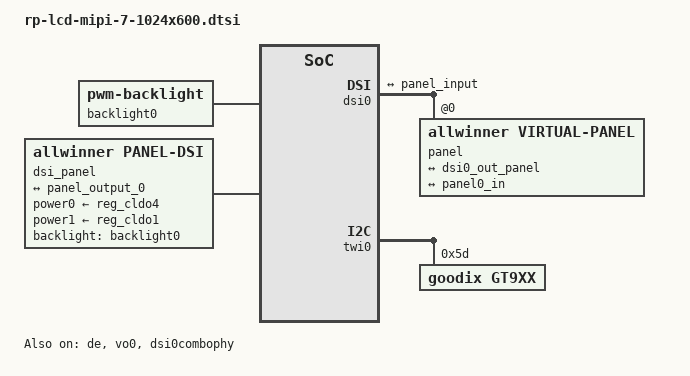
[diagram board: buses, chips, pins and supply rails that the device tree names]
/{
    backlight0: backlight@0 {
        compatible = "pwm-backlight";
        status = "okay";
        brightness-levels = <
              0   1   2   3   4   5   6   7
              8   9  10  11  12  13  14  15
             16  17  18  19  20  21  22  23
             24  25  26  27  28  29  30  31
             32  33  34  35  36  37  38  39
             40  41  42  43  44  45  46  47
             48  49  50  51  52  53  54  55
             56  57  58  59  60  61  62  63
             64  65  66  67  68  69  70  71
             72  73  74  75  76  77  78  79
             80  81  82  83  84  85  86  87
             88  89  90  91  92  93  94  95
             96  97  98  99 100 101 102 103
            104 105 106 107 108 109 110 111
            112 113 114 115 116 117 118 119
            120 121 122 123 124 125 126 127
            128 129 130 131 132 133 134 135
            136 137 138 139 140 141 142 143
            144 145 146 147 148 149 150 151
            152 153 154 155 156 157 158 159
            160 161 162 163 164 165 166 167
            168 169 170 171 172 173 174 175
            176 177 178 179 180 181 182 183
            184 185 186 187 188 189 190 191
            192 193 194 195 196 197 198 199
            200 201 202 203 204 205 206 207
            208 209 210 211 212 213 214 215
            216 217 218 219 220 221 222 223
            224 225 226 227 228 229 230 231
            232 233 234 235 236 237 238 239
            240 241 242 243 244 245 246 247
            248 249 250 251 252 253 254 255>;
        default-brightness-level = <200>;
        // pwms = <&pwm2 0 50000 0>; // config in lcd-gpio-xxx.dtsi
    };

    dsi_panel: dsi_panel@0 {
        compatible = "allwinner,panel-dsi";
        status = "okay";
        reg = <0>;
        power0-supply = <&reg_cldo4>;
        power1-supply = <&reg_cldo1>;

        // reset-gpios = <&pio PJ 17 GPIO_ACTIVE_HIGH>;   // config in lcd-gpio-xxx.dtsi
        // enable0-gpios = <&pio PJ 16 GPIO_ACTIVE_HIGH>; // config in lcd-gpio-xxx.dtsi
        power-delay-ms = <20>;
        enable-delay-ms = <20>;
        reset-num = <1>;
        reset-delay-ms = <20>;

        backlight = <&backlight0>;
        dsi,flags = <MIPI_DSI_MODE_VIDEO>;
        dsi,lanes = <4>;
        dsi,format = <0>; //MIPI_DSI_FMT_RGB888
        panel-init-sequence = [
            05 32 01 11
            05 05 01 29
        ];

        panel-exit-sequence = [
            05 14 01 28
            05 50 01 10
        ];

        display-timings {
            native-mode = <&dsi0_timing0>;

            dsi0_timing0: timing0 {
                clock-frequency = <52000000>;
                hback-porch     = <160>;
                hactive         = <1024>;
                hfront-porch    = <136>;
                hsync-len       = <4>;
                vback-porch     = <96>;
                vactive         = <600>;
                vfront-porch    = <16>;
                vsync-len       = <2>;
            };
        };
        port {
            panel0_in: endpoint@0 {
                reg = <0>;
                    remote-endpoint = <&panel_output_0>;
            };
        };
    };
};

&lvds0 {
    status = "disabled";
};

&dsi0 {
    status = "okay";
    pinctrl-0 = <&dsi0_4lane_pins_a>;
    pinctrl-1 = <&dsi0_4lane_pins_b>;
    pinctrl-names = "active","sleep";
    ports {
        dsi0_out: port@1{
            dsi0_out_panel: endpoint {
                remote-endpoint = <&panel_input>;
            };
        };
    };
    panel: panel@0 {
        compatible = "allwinner,virtual-panel";
        status = "okay";
        reg = <0>;
        ports {
            panel_in: port@0 {
                reg = <0>;
                panel_input: endpoint@0 {
                    reg = <0>;
                    remote-endpoint = <&dsi0_out_panel>;
                };
            };
            panel_out: port@1 {
                reg = <1>;
                panel_output_0: endpoint@0 {
                    reg = <0>;
                    remote-endpoint = <&panel0_in>;
                };
            };
        };
    };
};

&de {
    chn_cfg_mode = <3>;
    status = "okay";
};

&vo0 {
    status = "okay";
};

&dsi0combophy {
    status = "okay";
};


&twi0 {
    status = "okay";

    gt9xx: gt9xx@5d {
    };
};


&gt9xx {
    compatible = "goodix,gt9xx";
    reg = <0x5d>; 
    status = "okay";
    gtp_resolution_x = <1024>;
    gtp_resolution_y = <600>;
    gtp_int_tarigger = <1>;
    gtp_change_x2y = <0>;
    gtp_overturn_x = <0>;
    gtp_overturn_y = <0>;
    gtp_send_cfg = <1>;
    gtp_touch_wakeup = <1>;
    gtp_touch_back = <1>;
    
    /* 
    our gpio pin config in lcd-gpio-xxx.dtsi
    goodix_rst_gpio = <&pio PB 6 GPIO_ACTIVE_HIGH>;
    goodix_irq_gpio = <&pio PB 7 IRQ_TYPE_EDGE_RISING>;    
*/
    
    goodix,cfg-group0 = [   //odl touch sensor_id 0
        41 00 04 58 02 05 7D 00 01 2F 28
        0F 50 32 03 05 00 00 00 00 00 00 
        00 18 1A 1E 14 89 0D 0C 2C 2A 0C
        08 00 00 00 82 03 1D 0A 32 05 0A
        32 00 00 00 00 00 0B 1E 50 94 E5 
        02 08 00 00 04 A7 21 00 8B 28 00
        73 31 00 62 3B 00 52 48 00 52 00
        00 00 00 00 00 00 00 00 00 00 00 
        00 00 00 00 00 00 00 00 00 00 00
        00 00 00 00 00 00 00 00 32 50 00
        00 00 1C 1A 18 16 14 12 10 0E 0C 
        0A 08 06 04 02 00 00 00 00 00 00
        00 00 00 00 00 00 00 00 00 00 2A
        29 28 26 24 22 21 20 1F 1E 1D 18 
        16 14 13 12 10 0F 0C 0A 08 06 FF
        FF FF FF 00 00 00 00 00 00 00 00
        00 00 00 00 00 00 00 00 3B 01
    ];
    goodix,cfg-group5 = [ //new touch sensor_id 5
        FF 00 04 58 02 05 0D 04 01
        0A 28 0A 50 32 03 05 00 00
        00 00 00 00 08 00 00 00 00
        8B 2B 0E 30 32 0F 0A 00 00
        00 83 02 1D 00 00 00 00 00
        03 03 32 00 00 00 24 60 94
        C0 02 00 00 00 04 93 27 00
        80 30 00 70 3B 00 65 47 00
        5C 57 00 5C 00 00 00 00 00
        00 00 00 00 00 00 00 00 00
        00 00 00 00 00 00 00 00 00
        00 00 00 00 00 00 00 00 00
        00 00 00 00 1C 1A 18 16 14
        12 10 0E 0C 0A 08 06 04 02
        00 00 00 00 00 00 00 00 00
        00 00 00 00 00 00 00 26 24
        22 21 20 1F 1E 1D 1C 18 16
        13 12 10 0F 0C 0A 08 06 04
        02 00 FF FF FF FF 00 00 00
        00 00 00 00 00 00 00 00 00
        00 00 00 00 6A 01
    ];
};

